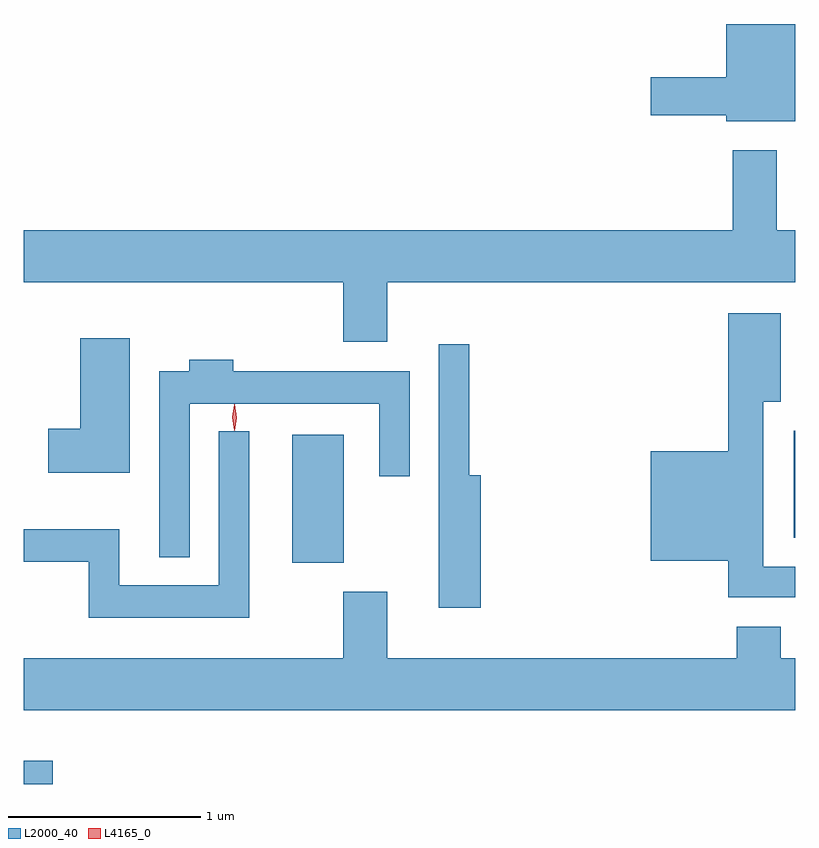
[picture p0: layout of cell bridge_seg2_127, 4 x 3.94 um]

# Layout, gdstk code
import gdstk
lib = gdstk.Library(unit=1e-6, precision=1e-09)
def R(c, l, rs):  # rectangles x0, y0, x1, y1
    for r in rs: c.add(gdstk.rectangle(r[:2], r[2:], *l))
def P(c, l, *ps):  # polygons
    for p in ps: c.add(gdstk.Polygon(p, *l))
L2000_40 = (2000, 40)
L4165_0 = (4165, 0)

bridge_seg2_127 = lib.new_cell('bridge_seg2_127')
R(bridge_seg2_127, L2000_40, [(1027.124,1105.653,1027.274,1105.774), (1028.516,1106.801,1028.784,1107.464), (1031.116,1106.931,1031.124,1107.484)])
P(bridge_seg2_127, L2000_40, [(1031.124,1109.594),(1030.766,1109.594),(1030.766,1109.319),(1030.376,1109.319),(1030.376,1109.121),(1030.766,1109.121),(1030.766,1109.091),(1031.124,1109.091)],
  [(1029.009,1108.256),(1031.124,1108.256),(1031.124,1108.524),(1031.029,1108.524),(1031.029,1108.939),(1030.801,1108.939),(1030.801,1108.524),(1027.124,1108.524),(1027.124,1108.256),(1028.781,1108.256),(1028.781,1107.946),(1029.009,1107.946)],
  [(1031.124,1106.779),(1030.959,1106.779),(1030.959,1107.636),(1031.049,1107.636),(1031.049,1108.094),(1030.776,1108.094),(1030.776,1107.379),(1030.376,1107.379),(1030.376,1106.811),(1030.776,1106.811),(1030.776,1106.621),(1031.124,1106.621)],
  [(1027.674,1107.964),(1027.416,1107.964),(1027.416,1107.494),(1027.251,1107.494),(1027.251,1107.266),(1027.674,1107.266)],
  [(1029.494,1107.254),(1029.434,1107.254),(1029.434,1107.933),(1029.276,1107.933),(1029.276,1106.566),(1029.494,1106.566)],
  [(1027.984,1107.626),(1028.966,1107.626),(1028.966,1107.248),(1029.124,1107.248),(1029.124,1107.794),(1028.209,1107.794),(1028.209,1107.854),(1027.981,1107.854),(1027.981,1107.794),(1027.826,1107.794),(1027.826,1106.828),(1027.984,1106.828)],
  [(1028.294,1107.483),(1028.136,1107.483),(1028.136,1106.684),(1027.619,1106.684),(1027.619,1106.974),(1027.124,1106.974),(1027.124,1106.806),(1027.461,1106.806),(1027.461,1106.516),(1028.294,1106.516)],
  [(1031.124,1106.304),(1031.049,1106.304),(1031.049,1106.469),(1030.821,1106.469),(1030.821,1106.304),(1029.009,1106.304),(1029.009,1106.649),(1028.781,1106.649),(1028.781,1106.304),(1027.124,1106.304),(1027.124,1106.036),(1031.124,1106.036)])
P(bridge_seg2_127, L4165_0, [(1028.217,1107.484),(1028.208,1107.553),(1028.217,1107.622),(1028.218,1107.623),(1028.218,1107.622),(1028.228,1107.553),(1028.218,1107.484),(1028.218,1107.484)],
  [(1028.215,1107.487),(1028.215,1107.487),(1028.205,1107.554),(1028.215,1107.62),(1028.215,1107.621),(1028.216,1107.62),(1028.225,1107.554),(1028.216,1107.487)])

lib.write_gds('bridge_seg2_127.gds')
